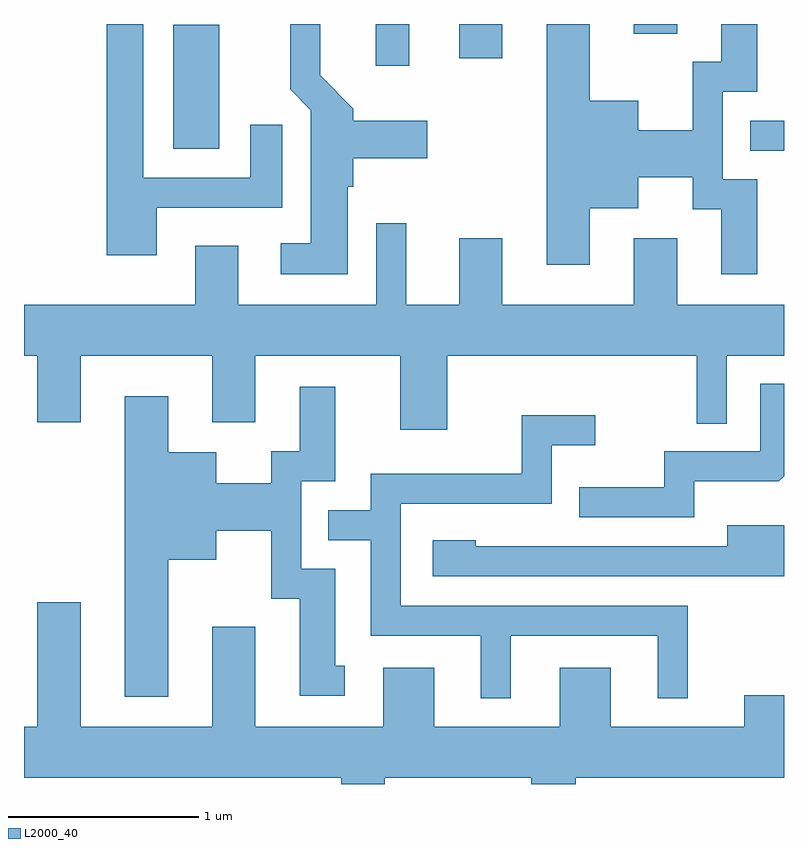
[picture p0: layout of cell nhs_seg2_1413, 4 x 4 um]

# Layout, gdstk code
import gdstk
lib = gdstk.Library(unit=1e-6, precision=1e-09)
def R(c, l, rs):  # rectangles x0, y0, x1, y1
    for r in rs: c.add(gdstk.rectangle(r[:2], r[2:], *l))
def P(c, l, *ps):  # polygons
    for p in ps: c.add(gdstk.Polygon(p, *l))
L2000_40 = (2000, 40)

nhs_seg2_1413 = lib.new_cell('nhs_seg2_1413')
R(nhs_seg2_1413, L2000_40, [(229.433,1087.136,229.611,1087.294), (226.396,1087.146,226.639,1087.799), (227.461,1087.581,227.639,1087.802), (227.901,1087.621,228.129,1087.802), (228.821,1087.751,229.049,1087.802)])
P(nhs_seg2_1413, L2000_40, [(226.309,1086.836),(226.969,1086.836),(226.969,1087.273),(226.801,1087.273),(226.801,1086.994),(226.239,1086.994),(226.239,1087.802),(226.046,1087.802),(226.046,1086.586),(226.309,1086.586)],
  [(229.469,1086.984),(229.289,1086.984),(229.289,1087.446),(229.469,1087.446),(229.469,1087.802),(229.281,1087.802),(229.281,1087.604),(229.131,1087.604),(229.131,1087.244),(228.844,1087.244),(228.844,1087.399),(228.589,1087.399),(228.589,1087.802),(228.361,1087.802),(228.361,1086.536),(228.589,1086.536),(228.589,1086.831),(228.844,1086.831),(228.844,1086.996),(229.131,1086.996),(229.131,1086.826),(229.281,1086.826),(229.281,1086.486),(229.469,1086.486)],
  [(227.314,1086.946),(227.344,1086.946),(227.344,1087.096),(227.734,1087.096),(227.734,1087.294),(227.344,1087.294),(227.344,1087.357),(227.169,1087.532),(227.169,1087.802),(227.011,1087.802),(227.011,1087.459),(227.121,1087.349),(227.121,1086.649),(226.963,1086.649),(226.963,1086.486),(227.314,1086.486)],
  [(227.839,1086.056),(229.151,1086.056),(229.151,1085.698),(229.309,1085.698),(229.309,1086.056),(229.611,1086.056),(229.611,1086.324),(229.049,1086.324),(229.049,1086.674),(228.821,1086.674),(228.821,1086.324),(228.129,1086.324),(228.129,1086.674),(227.901,1086.674),(227.901,1086.324),(227.624,1086.324),(227.624,1086.753),(227.466,1086.753),(227.466,1086.324),(226.739,1086.324),(226.739,1086.634),(226.511,1086.634),(226.511,1086.324),(225.611,1086.324),(225.611,1086.056),(225.681,1086.056),(225.681,1085.706),(225.909,1085.706),(225.909,1086.056),(226.601,1086.056),(226.601,1085.706),(226.829,1085.706),(226.829,1086.056),(227.591,1086.056),(227.591,1085.666),(227.839,1085.666)],
  [(229.139,1085.396),(229.584,1085.396),(229.611,1085.423),(229.611,1085.908),(229.486,1085.908),(229.486,1085.554),(228.981,1085.554),(228.981,1085.364),(228.533,1085.364),(228.533,1085.206),(229.139,1085.206)],
  [(226.369,1084.981),(226.624,1084.981),(226.624,1085.136),(226.911,1085.136),(226.911,1084.776),(227.061,1084.776),(227.061,1084.266),(227.298,1084.266),(227.298,1084.424),(227.249,1084.424),(227.249,1084.934),(227.069,1084.934),(227.069,1085.396),(227.249,1085.396),(227.249,1085.894),(227.061,1085.894),(227.061,1085.554),(226.911,1085.554),(226.911,1085.384),(226.624,1085.384),(226.624,1085.549),(226.369,1085.549),(226.369,1085.844),(226.141,1085.844),(226.141,1084.261),(226.369,1084.261)],
  [(228.174,1084.581),(228.946,1084.581),(228.946,1084.253),(229.104,1084.253),(229.104,1084.739),(227.594,1084.739),(227.594,1085.276),(228.389,1085.276),(228.389,1085.586),(228.618,1085.586),(228.618,1085.744),(228.231,1085.744),(228.231,1085.434),(227.436,1085.434),(227.436,1085.244),(227.213,1085.244),(227.213,1085.086),(227.436,1085.086),(227.436,1084.581),(228.016,1084.581),(228.016,1084.253),(228.174,1084.253)],
  [(229.611,1085.164),(229.311,1085.164),(229.311,1085.054),(227.989,1085.054),(227.989,1085.084),(227.761,1085.084),(227.761,1084.896),(229.611,1084.896)],
  [(227.509,1083.836),(228.281,1083.836),(228.281,1083.802),(228.514,1083.802),(228.514,1083.836),(229.611,1083.836),(229.611,1084.269),(229.401,1084.269),(229.401,1084.104),(228.699,1084.104),(228.699,1084.414),(228.431,1084.414),(228.431,1084.104),(227.769,1084.104),(227.769,1084.414),(227.501,1084.414),(227.501,1084.104),(226.829,1084.104),(226.829,1084.629),(226.601,1084.629),(226.601,1084.104),(225.909,1084.104),(225.909,1084.759),(225.681,1084.759),(225.681,1084.104),(225.611,1084.104),(225.611,1083.836),(227.281,1083.836),(227.281,1083.802),(227.509,1083.802)])

lib.write_gds('nhs_seg2_1413.gds')
